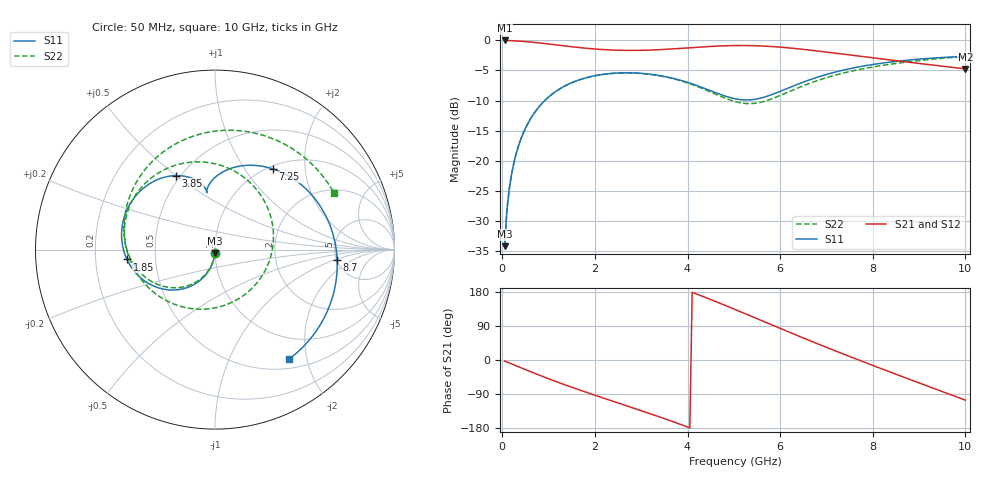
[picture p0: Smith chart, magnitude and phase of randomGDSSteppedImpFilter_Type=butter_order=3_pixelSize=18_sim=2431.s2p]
! freq	dB(S11)	phase(S11)	dB(S12)	phase(S12)
!  dB(S21)	phase(S21)	dB(S22)	phase(S22)
!S-par simulation data
#  GHz  S  DB  R 50
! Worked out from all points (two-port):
!   200 points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, 50 MHz to 10 GHz, reference 50 ohm
!   highest |S21| = 0.00 dB at 50 MHz (marker M1); lowest = -4.7 dB at 10 GHz (marker M2)
!   |S21| within 3 dB of the highest: start of sweep to 8.118 GHz
!   lowest |S11| = -34.2 dB at 50 MHz (marker M3), VSWR 1.04, Z = 49.9 - j1.94 ohm
!   |S11| at or under -10 dB: start of sweep to 917.4 MHz
!   |S22| runs from -34.2 to -2.7 dB; largest |S21 - S12| = 0
!   S11 on the Smith chart (normalised r, x): 50 MHz: 1.00, -0.04; 1.85 GHz: 0.34, -0.05; 3.85 GHz: 0.47, +0.50; 7.25 GHz: 1.05, +1.36; 8.7 GHz: 5.07, -1.05; 10 GHz: 0.64, -1.70
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0.05  -34.22 -92.6  -0.00 -2.6  -0.00 -2.6  -34.22 -92.7
0.1  -28.22 -95.2  -0.01 -5.2  -0.01 -5.2  -28.22 -95.6
0.2  -22.26 -100.4  -0.04 -10.3  -0.04 -10.3  -22.26 -101.1
0.5  -14.61 -115.2  -0.19 -25.4  -0.19 -25.4  -14.61 -116.8
1.1  -8.79 -142.8  -0.68 -54.1  -0.68 -54.1  -8.79 -146.6
1.75  -6.34 -169.7  -1.26 -82.6  -1.26 -82.6  -6.34 -176.6
1.85  -6.13 -173.6  -1.33 -86.7  -1.33 -86.7  -6.13 178.9
2.6  -5.39 158.7  -1.65 -117.3  -1.65 -117.3  -5.40 145.6
3.4  -5.85 131.6  -1.53 -150.3  -1.53 -150.3  -5.88 107.1
3.85  -6.63 117.8  -1.32 -170.0  -1.32 -170.0  -6.70 82.0
4.45  -8.22 103.4  -1.02 162.0  -1.02 162.0  -8.42 41.2
5.05  -9.74 98.1  -0.85 132.1  -0.85 132.1  -10.22 -12.9
5.45  -9.80 98.3  -0.88 111.6  -0.88 111.6  -10.46 -55.0
5.85  -8.93 95.9  -1.03 91.0  -1.03 91.0  -9.62 -94.9
6.25  -7.69 88.2  -1.29 70.6  -1.29 70.6  -8.33 -128.7
6.7  -6.38 74.7  -1.66 48.1  -1.66 48.1  -6.95 -160.4
7.25  -5.14 54.4  -2.17 21.2  -2.17 21.2  -5.65 166.4
7.75  -4.33 34.3  -2.65 -2.6  -2.65 -2.6  -4.77 139.2
8.35  -3.62 9.7  -3.22 -30.7  -3.22 -30.7  -3.99 108.3
8.7  -3.32 -4.7  -3.55 -46.8  -3.55 -46.8  -3.62 90.6
9.35  -2.90 -30.7  -4.15 -76.5  -4.15 -76.5  -3.07 58.0
10  -2.66 -55.9  -4.73 -105.9  -4.73 -105.9  -2.68 25.2
